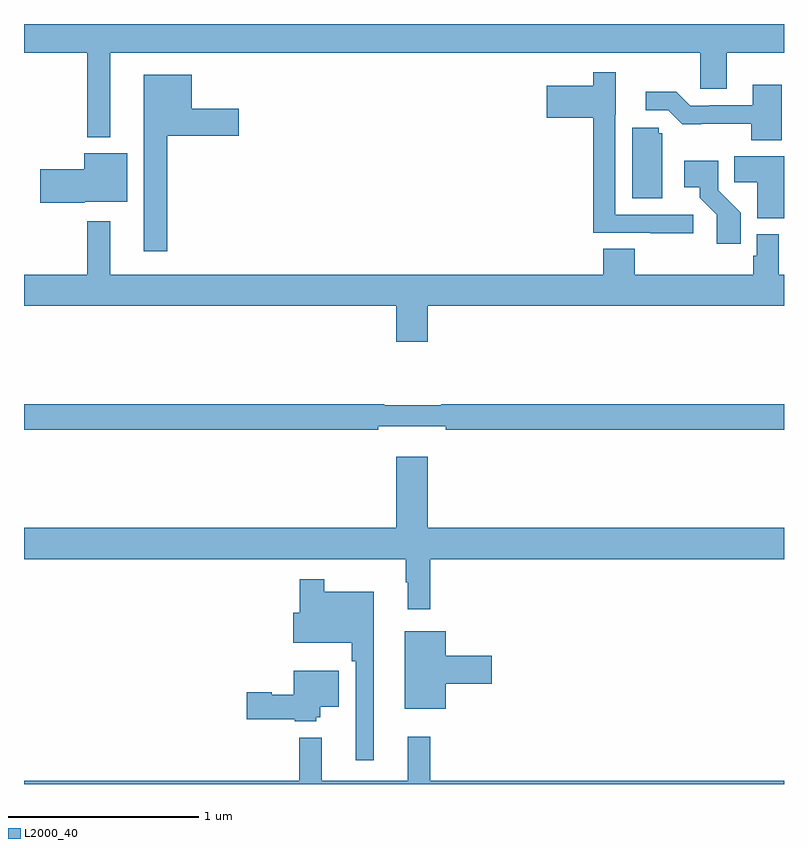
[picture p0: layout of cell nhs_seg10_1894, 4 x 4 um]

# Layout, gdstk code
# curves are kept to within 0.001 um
import gdstk
lib = gdstk.Library(unit=1e-6, precision=1e-09)
def P(c, l, *ps):  # polygons
    for p in ps: c.add(gdstk.Polygon(p, *l))
L2000_40 = (2000, 40)

nhs_seg10_1894 = lib.new_cell('nhs_seg10_1894')
P(nhs_seg10_1894, L2000_40, [(211.453,1268.348),(214.56,1268.348),(214.56,1268.158),(214.699,1268.158),(214.699,1268.348),(215,1268.348),(215,1268.5),(211,1268.5),(211,1268.348),(211.332,1268.348),(211.332,1267.904),(211.453,1267.904)],
  [(214.522,1267.497),(214.113,1267.497),(214.113,1268.022),(214.114,1268.022),(214.114,1268.245),(213.997,1268.245),(213.997,1268.176),(213.75,1268.176),(213.75,1268.006),(213.997,1268.006),(213.997,1267.401),(214.297,1267.401),(214.297,1267.399),(214.522,1267.399)],
  [(211.753,1267.913),(212.131,1267.913),(212.131,1268.055),(211.882,1268.055),(211.882,1268.233),(211.631,1268.233),(211.631,1267.305),(211.753,1267.305)],
  [(214.988,1268.179),(214.835,1268.179),(214.835,1268.073),(214.606,1268.073),(214.606,1268.07),(214.506,1268.07),(214.433,1268.143),(214.272,1268.143),(214.272,1268.046),(214.392,1268.046),(214.465,1267.973),(214.828,1267.974),(214.828,1267.889),(214.988,1267.889)],
  [(214.36,1267.926),(214.341,1267.926),(214.341,1267.953),(214.202,1267.953),(214.202,1267.582),(214.36,1267.582)],
  [(211.32,1267.565),(211.543,1267.565),(211.543,1267.819),(211.316,1267.819),(211.316,1267.736),(211.086,1267.736),(211.086,1267.558),(211.32,1267.558)],
  [(215,1267.804),(214.738,1267.804),(214.738,1267.666),(214.859,1267.666),(214.859,1267.478),(215,1267.478)],
  [(214.772,1267.506),(214.653,1267.625),(214.653,1267.78),(214.476,1267.78),(214.476,1267.64),(214.556,1267.64),(214.556,1267.585),(214.647,1267.495),(214.647,1267.344),(214.772,1267.344)],
  [(213.124,1267.016),(215,1267.016),(215,1267.18),(214.973,1267.18),(214.973,1267.393),(214.857,1267.393),(214.857,1267.281),(214.837,1267.281),(214.837,1267.18),(214.214,1267.18),(214.214,1267.316),(214.049,1267.316),(214.049,1267.18),(211.453,1267.18),(211.453,1267.462),(211.332,1267.462),(211.332,1267.18),(211,1267.18),(211,1267.016),(212.96,1267.016),(212.96,1266.828),(213.124,1266.828)],
  [(212.864,1266.383),(213.22,1266.383),(213.22,1266.364),(215,1266.364),(215,1266.5),(213.197,1266.5),(213.197,1266.493),(212.897,1266.493),(212.897,1266.5),(211,1266.5),(211,1266.364),(212.864,1266.364)],
  [(213.137,1265.684),(215,1265.684),(215,1265.848),(213.124,1265.848),(213.124,1266.223),(212.96,1266.223),(212.96,1265.848),(211,1265.848),(211,1265.684),(213.009,1265.684),(213.009,1265.561),(213.02,1265.561),(213.02,1265.421),(213.137,1265.421)],
  [(212.842,1265.512),(212.581,1265.512),(212.581,1265.578),(212.452,1265.578),(212.452,1265.401),(212.418,1265.401),(212.418,1265.243),(212.725,1265.243),(212.725,1265.147),(212.745,1265.147),(212.745,1264.626),(212.842,1264.626)],
  [(213.22,1265.027),(213.463,1265.027),(213.463,1265.174),(213.22,1265.174),(213.22,1265.305),(213.005,1265.305),(213.005,1264.895),(213.22,1264.895)],
  [(212.538,1264.851),(212.56,1264.851),(212.56,1264.907),(212.656,1264.907),(212.656,1265.095),(212.42,1265.095),(212.42,1264.969),(212.304,1264.969),(212.304,1264.982),(212.172,1264.982),(212.172,1264.84),(212.424,1264.84),(212.424,1264.829),(212.538,1264.829)],
  [(215,1264.516),(213.137,1264.516),(213.137,1264.75),(213.02,1264.75),(213.02,1264.516),(212.567,1264.516),(212.567,1264.744),(212.449,1264.744),(212.449,1264.516),(211,1264.516),(211,1264.5),(215,1264.5)])

lib.write_gds('nhs_seg10_1894.gds')
